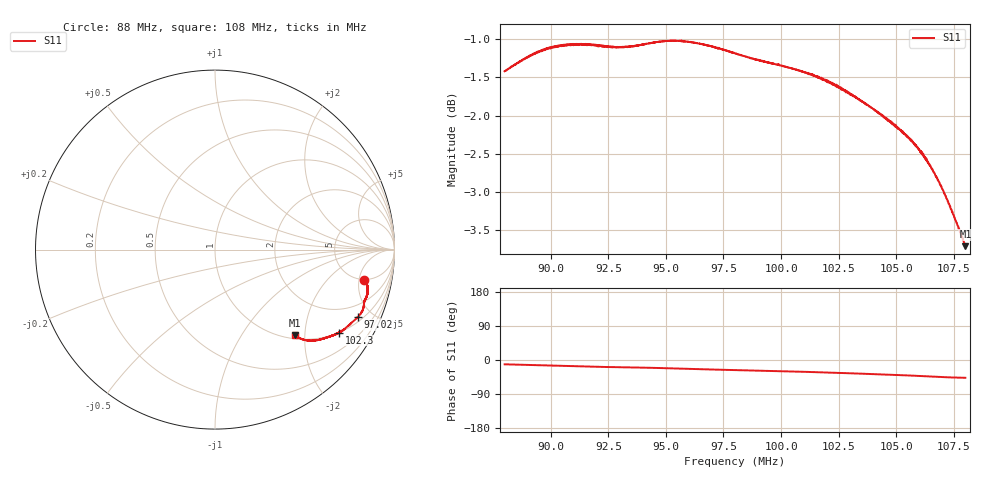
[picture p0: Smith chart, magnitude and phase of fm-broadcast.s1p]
! Calibrated averaged scanner-service zoom
# Hz S RI R 50
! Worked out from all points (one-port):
!   2001 points, 88 MHz to 108 MHz, reference 50 ohm
!   lowest |S11| = -3.7 dB at 108 MHz (marker M1), VSWR 4.75, Z = 53.7 - j89.1 ohm
!   |S11| at or under -10 dB: nowhere
!   S11 on the Smith chart (normalised r, x): 88 MHz: 4.96, -5.97; 97.02 MHz: 1.23, -4.14; 102.3 MHz: 0.99, -3.00; 108 MHz: 1.07, -1.78
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8.8e7  0.8325 -0.1677
8.849e7  0.8396 -0.1794
8.933e7  0.8495 -0.2024
8.99e7  0.852 -0.2195
9.05e7  0.8501 -0.2367
9.184e7  0.8418 -0.2698
9.3e7  0.8322 -0.2886
9.366e7  0.8307 -0.2974
9.412e7  0.8296 -0.3075
9.48e7  0.8271 -0.3233
9.55e7  0.8212 -0.3407
9.616e7  0.8123 -0.3561
9.702e7  0.7983 -0.3742
9.8e7  0.7798 -0.391
9.945e7  0.7549 -0.4121
1.005e8  0.736 -0.4302
1.0144e8  0.7158 -0.447
1.023e8  0.6927 -0.4623
1.03e8  0.6711 -0.4704
1.0437e8  0.6281 -0.488
1.0502e8  0.6019 -0.4957
1.055e8  0.5829 -0.5011
1.0621e8  0.5484 -0.5076
1.0653e8  0.5294 -0.5079
1.0686e8  0.5104 -0.506
1.0738e8  0.4784 -0.4968
1.0776e8  0.4572 -0.4852
1.08e8  0.4451 -0.4769
